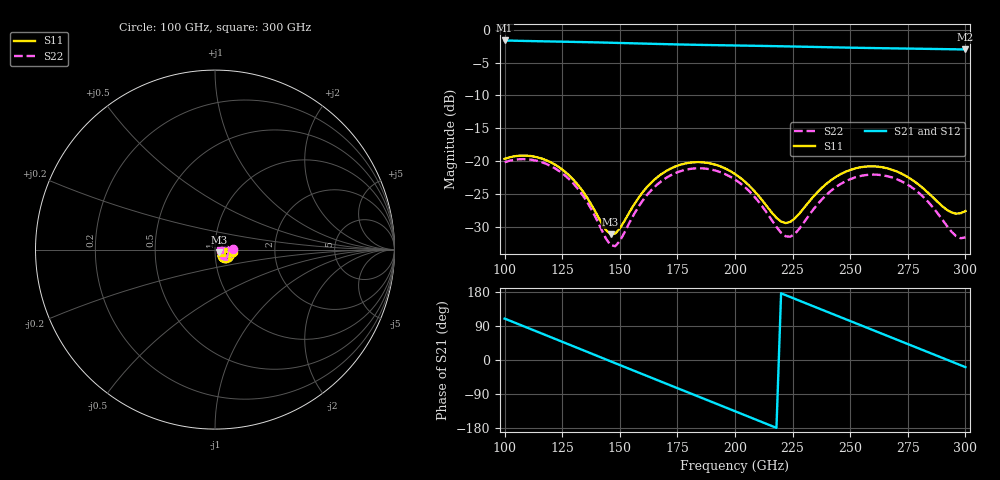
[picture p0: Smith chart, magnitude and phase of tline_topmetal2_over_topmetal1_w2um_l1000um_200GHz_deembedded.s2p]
! Created with skrf 2.0.1 (http://scikit-rf.org).
# GHz S DB R 50.0
!freq dBS11 angS11 dBS21 angS21 dBS12 angS12 dBS22 angS22
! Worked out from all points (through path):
!   101 points, 100 GHz to 300 GHz, reference 50 ohm
!   highest |S21| = -1.64 dB at 100 GHz (marker M1); lowest = -3.0 dB at 300 GHz (marker M2)
!   group delay of S21, straight-line fit = 6.78 ps
!   lowest |S11| = -31.2 dB at 146 GHz (marker M3), VSWR 1.06, Z = 52.3 - j1.64 ohm
!   |S11| at or under -10 dB: start of sweep to end of sweep
!   |S22| runs from -33.0 to -19.7 dB; largest |S21 - S12| = 9.5e-14
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100  -19.67 -7.8  -1.64 109.3  -1.64 109.3  -20.19 0.6
108  -19.18 -23.3  -1.71 89.7  -1.71 89.7  -19.72 -14.2
116  -19.62 -38.6  -1.77 70.2  -1.77 70.2  -20.17 -28.9
124  -21.04 -52.5  -1.82 50.6  -1.82 50.6  -21.61 -42.6
134  -24.64 -64.1  -1.89 26.0  -1.89 26.0  -25.27 -54.6
146  -31.16 -34.5  -1.99 -3.5  -1.99 -3.5  -32.83 -26.0
150  -30.29 -10.6  -2.02 -13.3  -2.02 -13.3  -32.21 2.9
156  -26.74 4.0  -2.08 -28.0  -2.08 -28.0  -28.20 21.0
168  -22.01 -4.4  -2.18 -57.3  -2.18 -57.3  -23.09 13.6
176  -20.60 -16.8  -2.25 -76.7  -2.25 -76.7  -21.59 1.4
184  -20.18 -30.4  -2.31 -96.2  -2.31 -96.2  -21.11 -11.9
200  -21.98 -55.4  -2.40 -135.2  -2.40 -135.2  -22.83 -37.0
212  -26.08 -61.9  -2.47 -164.5  -2.47 -164.5  -27.00 -45.7
222  -29.46 -35.4  -2.54 171.1  -2.54 171.1  -31.48 -20.3
226  -28.74 -19.9  -2.57 161.3  -2.57 161.3  -31.09 -0.6
234  -25.44 -7.9  -2.62 141.8  -2.62 141.8  -27.39 16.5
244  -22.38 -14.3  -2.70 117.4  -2.70 117.4  -23.92 11.0
252  -21.15 -24.9  -2.75 98.0  -2.75 98.0  -22.52 0.3
268  -21.31 -48.3  -2.84 59.1  -2.84 59.1  -22.50 -24.4
284  -24.91 -60.8  -2.92 20.2  -2.92 20.2  -26.30 -41.9
294  -27.85 -45.9  -2.98 -4.2  -2.98 -4.2  -30.78 -30.4
300  -27.64 -28.5  -3.01 -18.8  -3.01 -18.8  -31.63 -4.5
